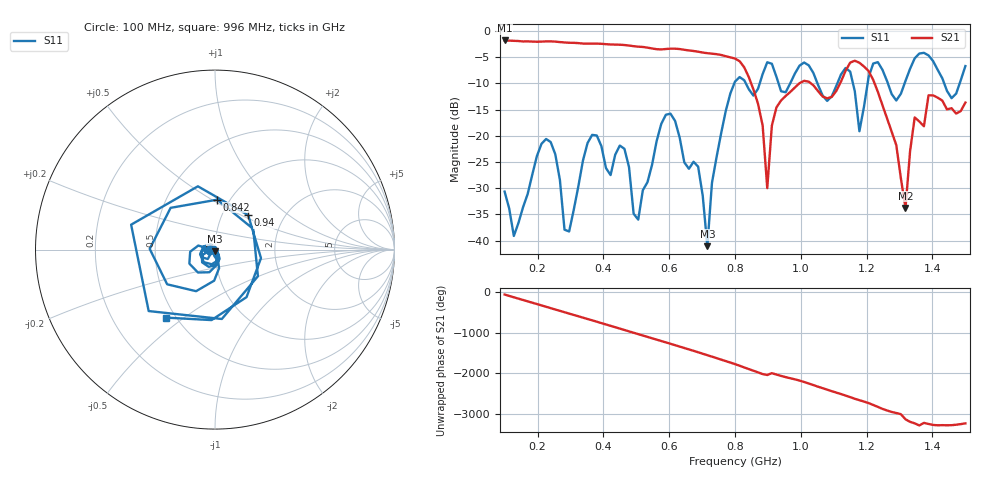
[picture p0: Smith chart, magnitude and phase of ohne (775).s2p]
! NanoVNA-App
! Date: 2025-09-25 14:26:50
! Start: 100MHz Stop: 1,5GHz Points: 101
! S-Parameter data: F S11 S21 S12 S22
# Hz S RI R 50
!  Frequency  S11_Real  S11_Imag  S21_Real  S21_Imag  S12_Real  S12_Imag  S22_Real  S22_Imag
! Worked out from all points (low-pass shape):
!   101 points, 100 MHz to 1.5 GHz, reference 50 ohm
!   highest |S21| = -1.79 dB at 100 MHz (marker M1); lowest = -33.8 dB at 1.318 GHz (marker M2)
!   |S21| within 3 dB of the highest: start of sweep to 771.5 MHz
!   lowest |S11| = -41.0 dB at 716 MHz (marker M3), VSWR 1.02, Z = 49.7 - j0.848 ohm
!   |S11| at or under -10 dB: start of sweep to 797.8 MHz; 833 MHz to 875.1 MHz (42.04 MHz wide, 4.92 % of centre); 1.051 GHz to 1.111 GHz (60.26 MHz wide, 5.58 % of centre) (the widest 3 of 7)
!   S12 and S22 are empty: the file has one direction only
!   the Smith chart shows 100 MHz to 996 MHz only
!   S11 on the Smith chart (normalised r, x): 100 MHz: 0.94, -0.01; 842 MHz: 0.88, +0.53; 940 MHz: 1.32, +0.55; 996 MHz: 0.44, -0.43
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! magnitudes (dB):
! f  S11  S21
! 100 MHz  -30.6  -1.8
! 128 MHz  -39.1  -1.9
! 226 MHz  -20.6  -2.0
! 296 MHz  -38.2  -2.2
! 338 MHz  -24.7  -2.4
! 464 MHz  -22.5  -2.7
! 506 MHz  -36.0  -3.0
! 576 MHz  -17.7  -3.5
! 688 MHz  -25.9  -3.9
! 716 MHz  -41.0  -4.2
! 800 MHz  -9.7  -5.2
! 842 MHz  -11.1  -8.8
! 898 MHz  -6.0  -30.0
! 940 MHz  -11.5  -13.2
! 996 MHz  -6.6  -9.9
! 1.038 GHz  -8.0  -10.4
! 1.178 GHz  -19.1  -6.0
! 1.22 GHz  -6.2  -9.3
! 1.276 GHz  -12.0  -19.2
! 1.318 GHz  -9.5  -33.8
! 1.346 GHz  -5.2  -16.5
! 1.5 GHz  -6.7  -13.6
